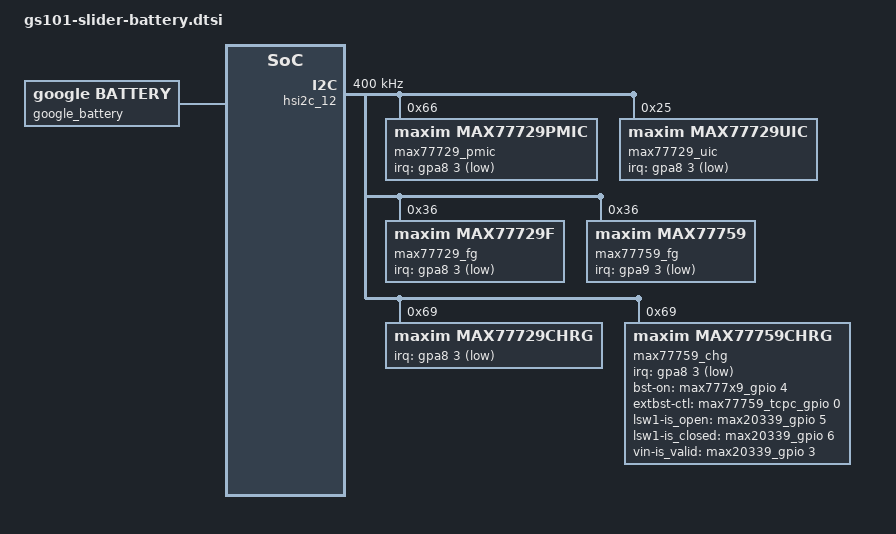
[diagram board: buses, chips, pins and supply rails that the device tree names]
// SPDX-License-Identifier: GPL-2.0-only
/*
 * Battery device tree entries
 *
 * Copyright 2019 Google LLC
 */

#include <dt-bindings/pinctrl/samsung.h>

/ {
  fragment@battery {
    target-path = "/";
      __overlay__ {

	google_battery: google,battery {
		status = "okay";
		compatible = "google,battery";
		#cooling-cells = <2>;
		google,fg-psy-name = "maxfg";

		google,chg-battery-capacity = <4000>;

		/* charge table */
		google,chg-temp-limits = <0 100 200 420 460 480 550>;
		google,chg-cv-limits = <4200000 4300000 4400000>;
		google,chg-cc-limits = <
			30  10   0
			50  30  30
			100  70  50
			80  50  50
			50  50   0
			30   0   0
		>;
		#thermal-sensor-cells = <0>;
	};

	google_cpm: google,cpm {
		status = "okay";
		compatible = "google,cpm";
	};

	google_charger: google,charger {
		status = "okay";
		compatible = "google,charger";
		#cooling-cells = <2>;

		google,chg-power-supply = "gcpm";
		google,bat-power-supply = "battery";
		google,usb-power-supply = "usb";

		google,fv-max-uv = <4400000>;
	};

	google_bms {
		nvmem = <&pack_bee>;
		nvmem-names = "5-00500";
		/* pack eeprom is available only with P20+ batteries */
		google,bee-name = "5-00500";
	};

    };
  };
};

&pinctrl_0 {
/* [MAX77759: FG_INTB] > FG_INT_L > [XEINT_23 : SC59845XWE] */
	if_pmic_fg_irq: if-pmic-fg-irq {
		samsung,pins = "gpa9-3"; /* XEINT_23 */
		samsung,pin-function = <EXYNOS_PIN_FUNC_EINT>;
		samsung,pin-pud = <EXYNOS_PIN_PULL_UP>;
		samsung,pin-drv = <GS101_PIN_DRV_2_5_MA>;
	};

};

&pinctrl_1 {
/* [MAX77729FEWN : INTB] > IF_PMIC_IRQ_L > [XEINT_15 : SC59845XWE] */
	if_pmic_irq: if-pmic-irq {
		samsung,pins = "gpa8-3";
		samsung,pin-function = <EXYNOS_PIN_FUNC_EINT>;
		samsung,pin-pud = <EXYNOS_PIN_PULL_NONE>;
		samsung,pin-drv = <GS101_PIN_DRV_2_5_MA>;
	};
};

&hsi2c12_bus {
	samsung,pins = "gpp23-4", "gpp23-5";
	samsung,pin-pud = <EXYNOS_PIN_PULL_UP>;
};

&hsi2c_12{

	#address-cells = <1>;
	#size-cells = <0>;
	status = "okay";
	clock-frequency = <400000>;

	/* also as max77759 pmic  */
	max77729_pmic:max77729pmic@0x66 {
		status = "okay";
		compatible = "maxim,max77729pmic";
		reg = <0x66>;

		pinctrl-names = "default";
		pinctrl-0 = <&if_pmic_irq>;
		max777x9,irq-gpio = <&gpa8 3 GPIO_ACTIVE_LOW>;

		max77759,max_m5 = <&max77759_fg>;
		max20339,ovp = <&max20339_ovp>;

		max777x9_gpio: max777x9_gpio {
			gpio-controller;
			#gpio-cells = <2>;
			ngpios = <6>;
		};
	};

	/* disabled when running MW */
	max77729_uic:max77729uic@0x25 {
		status = "okay";
		compatible = "maxim,max77729uic";
		reg = <0x25>;

		max77729,irq-gpio = <&gpa8 3 GPIO_ACTIVE_LOW>;
		bc1_config = <0xe5>;
		usb-psy-name = "usb";
	};

	/* disabled when running MW */
	max77729_fg:max77729fg@0x36 {
		status = "okay";
		compatible = "maxim,max77729f";
		reg = <0x36>;

		/* IF_PMIC_IRQ_L -> XEINT_15 */
		maxim,irq-gpio = <&gpa8 3 GPIO_ACTIVE_LOW>;
		maxim,irqf-shared;

		maxim,rsense-default = <500>;

		/* no needed for EEPROM */
		maxim,batt-id-range-pct = <0>;

		maxim,psy-type-unknown;

		maxim,fg-data {
			#include "gs101-slider-battery-data.dtsi"
		};
	};

	max77759_fg:max77759fg@0x36 {
		status = "okay";
		compatible = "maxim,max77759";
		reg = <0x36>;

		/* FG_INT_L -> XEINT_23 */
		pinctrl-names = "default";
		pinctrl-0 = <&if_pmic_fg_irq>;
		maxim,irq-gpio = <&gpa9 3 GPIO_ACTIVE_LOW>;

		maxim,rsense-default = <500>;

		/* no needed for EEPROM */
		maxim,batt-id-range-pct = <0>;

		maxim,psy-type-unknown;

		maxim,fg-data {
			#include "gs101-slider-battery-data.dtsi"
		};
	};

	/* slider and whitefin */
	max77729chrg@0x69 {
		status = "okay";
		compatible = "maxim,max77729chrg";
		reg = <0x69>;

		max77729,irq-gpio = <&gpa8 3 GPIO_ACTIVE_LOW>;
		max77729,psy-name = "main-charger";
	};

	/* slider (some), whitefin2 (if any), POR */
	max77759_chg:max77759chrg@0x69 {
		status = "okay";
		compatible = "maxim,max77759chrg";
		reg = <0x69>;

		#thermal-sensor-cells = <1>;

		interrupt-parent = <&gpa8>;
		max77759,irq-gpio = <&gpa8 3 GPIO_ACTIVE_LOW>;
		max77759,psy-name = "main-charger";

		max77759,max_m5 = <&max77759_fg>;
		max77759,pmic = <&max77729_pmic>;

		/* system use cases */
		max77759,bst-on = <&max777x9_gpio 4 GPIO_ACTIVE_HIGH>;
		max77759,bst-sel = <&gpp27 3 GPIO_ACTIVE_HIGH>;
		max77759,extbst-ctl = <&max77759_tcpc_gpio 0 GPIO_ACTIVE_HIGH>;
		max77759,lsw1-is_open = <&max20339_gpio 5 GPIO_ACTIVE_HIGH>;
		max77759,lsw1-is_closed = <&max20339_gpio 6 GPIO_ACTIVE_HIGH>;
		max77759,vin-is_valid =  <&max20339_gpio 3 GPIO_ACTIVE_HIGH>;
	};

};
